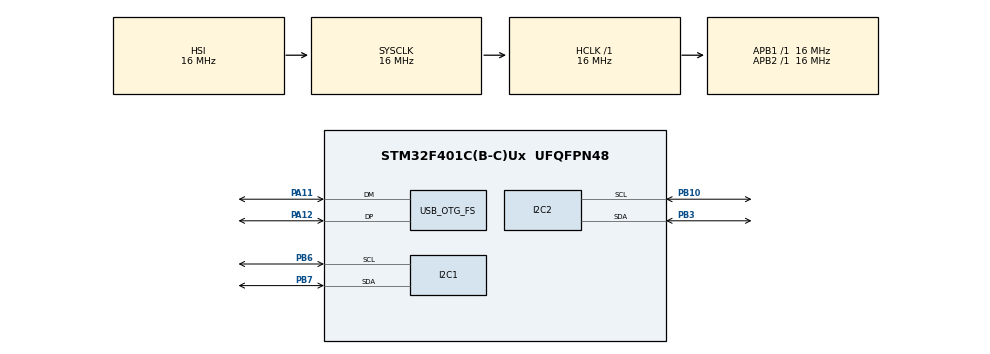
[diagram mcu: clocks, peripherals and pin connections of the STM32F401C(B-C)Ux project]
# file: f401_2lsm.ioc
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Mcu.Family=STM32F4
Mcu.Name=STM32F401C(B-C)Ux
Mcu.Package=UFQFPN48
NVIC.OTG_FS_IRQn=true\:0\:0\:false\:false\:true\:false\:true\:true
NVIC.PriorityGroup=NVIC_PRIORITYGROUP_4
PA11.Mode=Device_Only
PA11.Signal=USB_OTG_FS_DM
PA12.Mode=Device_Only
PA12.Signal=USB_OTG_FS_DP
PB10.Mode=I2C
PB10.Signal=I2C2_SCL
PB3.Mode=I2C
PB3.Signal=I2C2_SDA
PB6.Mode=I2C
PB6.Signal=I2C1_SCL
PB7.Mode=I2C
PB7.Signal=I2C1_SDA
PH0\ -\ OSC_IN.Mode=HSE-External-Oscillator
PH0\ -\ OSC_IN.Signal=RCC_OSC_IN
PH1\ -\ OSC_OUT.Mode=HSE-External-Oscillator
PH1\ -\ OSC_OUT.Signal=RCC_OSC_OUT
ProjectManager.HeapSize=0x200
ProjectManager.StackSize=0x400
ProjectManager.TargetToolchain=STM32CubeIDE
RCC.48MHZClocksFreq_Value=48000000
RCC.AHBFreq_Value=16000000
RCC.APB1Freq_Value=16000000
RCC.APB2Freq_Value=16000000
RCC.CortexFreq_Value=16000000
RCC.HSE_VALUE=25000000
RCC.HSI_VALUE=16000000
RCC.LSE_VALUE=32768
RCC.PLLM=15
RCC.PLLN=144
RCC.PLLQ=5
RCC.SYSCLKFreq_VALUE=16000000
RCC.VCOOutputFreq_Value=240000000
USB_DEVICE.CLASS_NAME_FS=CDC
USB_DEVICE.VirtualMode=Cdc
USB_DEVICE.VirtualModeFS=Cdc_FS
USB_OTG_FS.VirtualMode=Device_Only
VP_USB_DEVICE_VS_USB_DEVICE_CDC_FS.Mode=CDC_FS
board=custom

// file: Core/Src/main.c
/* USER CODE BEGIN Header */
/**
  ******************************************************************************
  * @file           : main.c
  * @brief          : Main program body
  ******************************************************************************
  * @attention
  *
  * Copyright (c) 2024 STMicroelectronics.
  * All rights reserved.
  *
  * This software is licensed under terms that can be found in the LICENSE file
  * in the root directory of this software component.
  * If no LICENSE file comes with this software, it is provided AS-IS.
  *
  ******************************************************************************
  */
/* USER CODE END Header */
#include "main.h"
#include "usb_device.h"

/* USER CODE BEGIN PD */
#define LSM6DS3_I2C_ADDRESS 0xD6
/* USER CODE END PD */

I2C_HandleTypeDef hi2c1;
I2C_HandleTypeDef hi2c2;

/* USER CODE BEGIN PV */
int16_t acc1_x, acc1_y, acc1_z, gyro1_x, gyro1_y, gyro1_z, acc2_x, acc2_y, acc2_z, gyro2_x, gyro2_y, gyro2_z;
char senrData[100];
/* USER CODE END PV */

void SystemClock_Config(void);
static void MX_GPIO_Init(void);
static void MX_I2C1_Init(void);
static void MX_I2C2_Init(void);
void LSM6DS3_Init(void);
void LSM6DS3_ReadRawData(int16_t* acc1_x, int16_t* acc1_y, int16_t* acc1_z,
		int16_t* gyro1_x, int16_t* gyro1_y, int16_t* gyro1_z,
		int16_t* acc2_x, int16_t* acc2_y, int16_t* acc2_z,
		int16_t* gyro2_x, int16_t* gyro2_y, int16_t* gyro2_z);

int main(void)
{

  /* MCU Configuration--------------------------------------------------------*/

  /* Reset of all peripherals, Initializes the Flash interface and the Systick. */
  HAL_Init();

  /* Configure the system clock */
  SystemClock_Config();

  /* Initialize all configured peripherals */
  MX_GPIO_Init();
  MX_I2C1_Init();
  MX_I2C2_Init();
  MX_USB_DEVICE_Init();
  /* USER CODE BEGIN 2 */
  LSM6DS3_Init();
  /* USER CODE END 2 */

  /* Infinite loop */
  /* USER CODE BEGIN WHILE */
  while (1)
  {
	  LSM6DS3_ReadRawData(&acc1_x, &acc1_y, &acc1_z, &gyro1_x, &gyro1_y, &gyro1_z, &acc2_x, &acc2_y, &acc2_z, &gyro2_x, &gyro2_y, &gyro2_z);
	  sprintf(senrData,"%d %d %d %d %d %d %d %d %d %d %d %d \r\n",
			  acc1_x, acc1_y, acc1_z, gyro1_x, gyro1_y, gyro1_z,
			  acc2_x, acc2_y, acc2_z, gyro2_x, gyro2_y, gyro2_z);
	  CDC_Transmit_FS(senrData,strlen(senrData));
    /* USER CODE END WHILE */

    /* USER CODE BEGIN 3 */
	  HAL_GPIO_TogglePin(GPIOC, GPIO_PIN_13);
	  HAL_Delay(100);
  }
  /* USER CODE END 3 */
}

void SystemClock_Config(void)
{
  RCC_OscInitTypeDef RCC_OscInitStruct = {0};
  RCC_ClkInitTypeDef RCC_ClkInitStruct = {0};

  /** Configure the main internal regulator output voltage
  */
  __HAL_RCC_PWR_CLK_ENABLE();
  __HAL_PWR_VOLTAGESCALING_CONFIG(PWR_REGULATOR_VOLTAGE_SCALE2);

  /** Initializes the RCC Oscillators according to the specified parameters
  * in the RCC_OscInitTypeDef structure.
  */
  RCC_OscInitStruct.OscillatorType = RCC_OSCILLATORTYPE_HSI|RCC_OSCILLATORTYPE_HSE;
  RCC_OscInitStruct.HSEState = RCC_HSE_ON;
  RCC_OscInitStruct.HSIState = RCC_HSI_ON;
  RCC_OscInitStruct.HSICalibrationValue = RCC_HSICALIBRATION_DEFAULT;
  RCC_OscInitStruct.PLL.PLLState = RCC_PLL_ON;
  RCC_OscInitStruct.PLL.PLLSource = RCC_PLLSOURCE_HSE;
  RCC_OscInitStruct.PLL.PLLM = 15;
  RCC_OscInitStruct.PLL.PLLN = 144;
  RCC_OscInitStruct.PLL.PLLP = RCC_PLLP_DIV2;
  RCC_OscInitStruct.PLL.PLLQ = 5;
  if (HAL_RCC_OscConfig(&RCC_OscInitStruct) != HAL_OK)
  {
    Error_Handler();
  }

  /** Initializes the CPU, AHB and APB buses clocks
  */
  RCC_ClkInitStruct.ClockType = RCC_CLOCKTYPE_HCLK|RCC_CLOCKTYPE_SYSCLK
                              |RCC_CLOCKTYPE_PCLK1|RCC_CLOCKTYPE_PCLK2;
  RCC_ClkInitStruct.SYSCLKSource = RCC_SYSCLKSOURCE_HSI;
  RCC_ClkInitStruct.AHBCLKDivider = RCC_SYSCLK_DIV1;
  RCC_ClkInitStruct.APB1CLKDivider = RCC_HCLK_DIV1;
  RCC_ClkInitStruct.APB2CLKDivider = RCC_HCLK_DIV1;

  if (HAL_RCC_ClockConfig(&RCC_ClkInitStruct, FLASH_LATENCY_0) != HAL_OK)
  {
    Error_Handler();
  }
}

static void MX_I2C1_Init(void)
{

  hi2c1.Instance = I2C1;
  hi2c1.Init.ClockSpeed = 100000;
  hi2c1.Init.DutyCycle = I2C_DUTYCYCLE_2;
  hi2c1.Init.OwnAddress1 = 0;
  hi2c1.Init.AddressingMode = I2C_ADDRESSINGMODE_7BIT;
  hi2c1.Init.DualAddressMode = I2C_DUALADDRESS_DISABLE;
  hi2c1.Init.OwnAddress2 = 0;
  hi2c1.Init.GeneralCallMode = I2C_GENERALCALL_DISABLE;
  hi2c1.Init.NoStretchMode = I2C_NOSTRETCH_DISABLE;
  if (HAL_I2C_Init(&hi2c1) != HAL_OK)
  {
    Error_Handler();
  }

}

static void MX_I2C2_Init(void)
{

  hi2c2.Instance = I2C2;
  hi2c2.Init.ClockSpeed = 100000;
  hi2c2.Init.DutyCycle = I2C_DUTYCYCLE_2;
  hi2c2.Init.OwnAddress1 = 0;
  hi2c2.Init.AddressingMode = I2C_ADDRESSINGMODE_7BIT;
  hi2c2.Init.DualAddressMode = I2C_DUALADDRESS_DISABLE;
  hi2c2.Init.OwnAddress2 = 0;
  hi2c2.Init.GeneralCallMode = I2C_GENERALCALL_DISABLE;
  hi2c2.Init.NoStretchMode = I2C_NOSTRETCH_DISABLE;
  if (HAL_I2C_Init(&hi2c2) != HAL_OK)
  {
    Error_Handler();
  }

}

static void MX_GPIO_Init(void)
{

  /* GPIO Ports Clock Enable */
  __HAL_RCC_GPIOH_CLK_ENABLE();
  __HAL_RCC_GPIOB_CLK_ENABLE();
  __HAL_RCC_GPIOA_CLK_ENABLE();

}

/* USER CODE BEGIN 4 */
void LSM6DS3_Init(void)
{
	uint8_t init_data[] = {0x10, 0x80};
	HAL_I2C_Mem_Write(&hi2c1, LSM6DS3_I2C_ADDRESS, 0x10, I2C_MEMADD_SIZE_8BIT, init_data, sizeof(init_data), HAL_MAX_DELAY);
	HAL_I2C_Mem_Write(&hi2c2, LSM6DS3_I2C_ADDRESS, 0x10, I2C_MEMADD_SIZE_8BIT, init_data, sizeof(init_data), HAL_MAX_DELAY);
}

void LSM6DS3_ReadRawData(int16_t* acc1_x, int16_t* acc1_y, int16_t* acc1_z,
		int16_t* gyro1_x, int16_t* gyro1_y, int16_t* gyro1_z,
		int16_t* acc2_x, int16_t* acc2_y, int16_t* acc2_z,
		int16_t* gyro2_x, int16_t* gyro2_y, int16_t* gyro2_z)
{
	uint8_t buffer1[14];
	uint8_t buffer2[14];
	HAL_I2C_Mem_Read(&hi2c1, LSM6DS3_I2C_ADDRESS, 0x22, I2C_MEMADD_SIZE_8BIT, buffer1, sizeof(buffer1), HAL_MAX_DELAY);
	*acc1_x = (int16_t)(buffer1[1] << 8 | buffer1 [0]);
	*acc1_y = (int16_t)(buffer1[3] << 8 | buffer1 [2]);
	*acc1_z = (int16_t)(buffer1[5] << 8 | buffer1 [4]);
	*gyro1_x = (int16_t)(buffer1[7] << 8 | buffer1 [6]);
	*gyro1_y = (int16_t)(buffer1[9] << 8 | buffer1 [8]);
	*gyro1_z = (int16_t)(buffer1[11] << 8 | buffer1 [10]);
	HAL_I2C_Mem_Read(&hi2c2, LSM6DS3_I2C_ADDRESS, 0x22, I2C_MEMADD_SIZE_8BIT, buffer2, sizeof(buffer2), HAL_MAX_DELAY);
	*acc2_x = (int16_t)(buffer2[1] << 8 | buffer2 [0]);
	*acc2_y = (int16_t)(buffer2[3] << 8 | buffer2 [2]);
	*acc2_z = (int16_t)(buffer2[5] << 8 | buffer2 [4]);
	*gyro2_x = (int16_t)(buffer2[7] << 8 | buffer2 [6]);
	*gyro2_y = (int16_t)(buffer2[9] << 8 | buffer2 [8]);
	*gyro2_z = (int16_t)(buffer2[11] << 8 | buffer2 [10]);
}
/* USER CODE END 4 */

void Error_Handler(void)
{
  __disable_irq();
  while (1)
  {
  }
}
